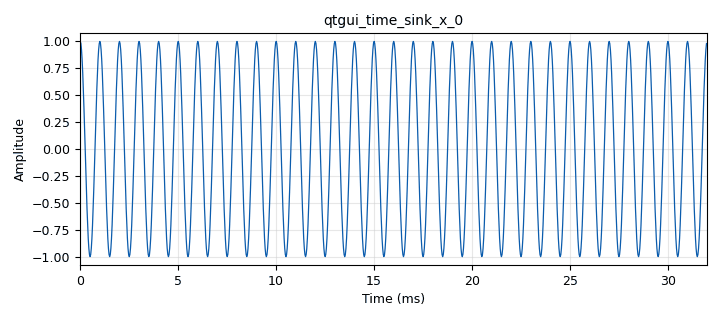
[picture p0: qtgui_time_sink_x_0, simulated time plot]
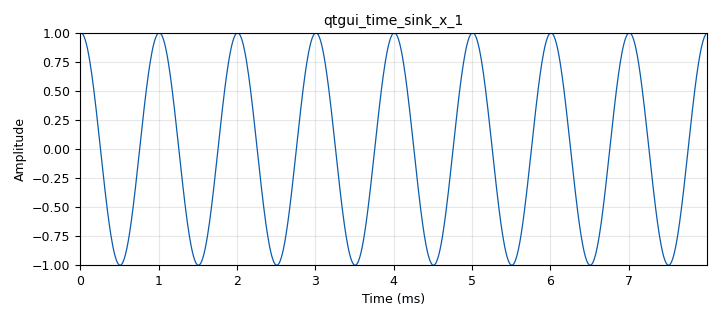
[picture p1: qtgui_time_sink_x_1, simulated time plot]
options:
  parameters:
    generate_options: qt_gui
    id: decimation
    output_language: python
    title: interpolation
  states: {}

blocks:
- name: samp_rate
  id: variable
  parameters:
    value: '32000'
  states: {}
- name: analog_sig_source_x_0
  id: analog_sig_source_x
  parameters:
    amp: '1'
    freq: '1000'
    offset: '0'
    phase: '0'
    samp_rate: samp_rate
    type: float
    waveform: analog.GR_COS_WAVE
  states: {}
- name: blocks_throttle_0
  id: blocks_throttle
  parameters:
    samples_per_second: samp_rate
    type: float
  states: {}
- name: qtgui_time_sink_x_0
  id: qtgui_time_sink_x
  parameters:
    grid: 'True'
    size: '1024'
    srate: samp_rate
    style1: '3'
    type: float
  states: {}
- name: qtgui_time_sink_x_1
  id: qtgui_time_sink_x
  parameters:
    grid: 'True'
    size: '1024'
    srate: samp_rate*4
    style1: '3'
    type: float
  states: {}
- name: rational_resampler_xxx_0
  id: rational_resampler_xxx
  parameters:
    decim: '1'
    interp: '4'
    type: fff
  states: {}

connections:
- [analog_sig_source_x_0, '0', blocks_throttle_0, '0']
- [blocks_throttle_0, '0', qtgui_time_sink_x_0, '0']
- [blocks_throttle_0, '0', rational_resampler_xxx_0, '0']
- [rational_resampler_xxx_0, '0', qtgui_time_sink_x_1, '0']

metadata:
  file_format: 1
  grc_version: 3.10.5.1
